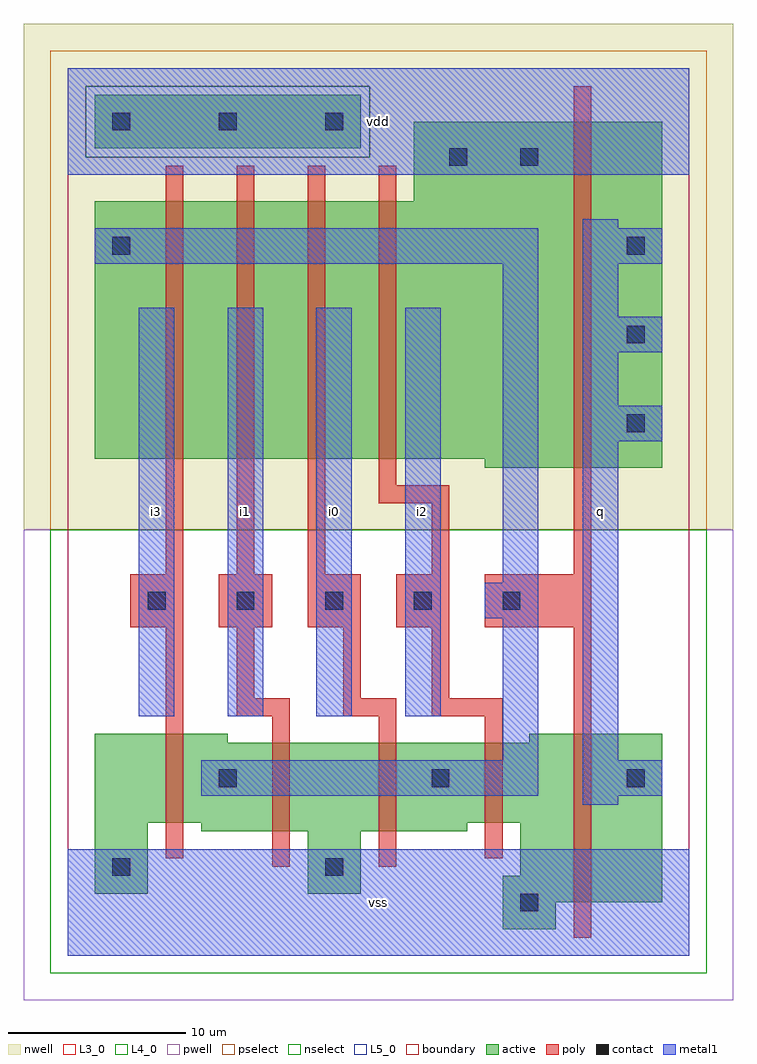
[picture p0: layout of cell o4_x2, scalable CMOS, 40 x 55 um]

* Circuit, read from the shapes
.subckt o4_x2 i0 i1 i2 i3 q vdd vss
M1 n1 i3 vss VSUBS nfet w=5u l=1u
M2 vss i1 n1 VSUBS nfet w=5u l=1u
M3 n1 i0 vss VSUBS nfet w=5u l=1u
M4 vss i2 n1 VSUBS nfet w=4.5u l=1u
M5 q n1 vss VSUBS nfet w=9.5u l=1u
M6 n2 i3 n1 vdd pfet w=14.5u l=1u
M7 n3 i1 n2 vdd pfet w=14.5u l=1u
M8 n4 i0 n3 vdd pfet w=14.5u l=1u
M9 vdd i2 n4 vdd pfet w=14.5u l=1u
M10 q n1 vdd vdd pfet w=19.5u l=1u
.ends

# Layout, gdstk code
import gdstk
lib = gdstk.Library(unit=1e-6, precision=1e-09)
def R(c, l, rs):  # rectangles x0, y0, x1, y1
    for r in rs: c.add(gdstk.rectangle(r[:2], r[2:], *l))
def A(c, l, x, y, w, h, nx, ny, dx, dy):  # array of equal rectangles
    R(c, l, [(x+i*dx, y+j*dy, x+i*dx+w, y+j*dy+h) for i in range(nx) for j in range(ny)])
L3_0 = (3, 0)
L4_0 = (4, 0)
L5_0 = (5, 0)
contact = (25, 0)
pwell = (41, 0)
nwell = (42, 0)
active = (43, 0)
pselect = (44, 0)
nselect = (45, 0)
poly = (46, 0)
metal1 = (49, 0)
boundary = (63, 0)

o4_x2 = lib.new_cell('o4_x2')
R(o4_x2, L3_0, [(24.5,1.5,27.5,3), (24.5,3,33.5,4.5), (1.5,3.5,4.5,7.5), (13.5,3.5,16.5,7), (25.5,4.5,33.5,7.5), (7.5,7,22.5,7.5), (1.5,7.5,33.5,12), (1.5,12,9,12.5), (26,12,33.5,12.5)])
R(o4_x2, L4_0, [(23.5,27.5,33.5,28), (1.5,28,33.5,42.5), (19.5,42.5,33.5,47)])
R(o4_x2, L5_0, [(1.5,45.5,16.5,48.5)])
A(o4_x2, contact, 4.5, 19.5, 1, 1, 5, 1, 5, 0)
A(o4_x2, contact, 31.5, 29.5, 1, 1, 1, 3, 0, 5)
A(o4_x2, contact, 2.5, 46.5, 1, 1, 3, 1, 6, 0)
R(o4_x2, contact, [(25.5,2.5,26.5,3.5), (2.5,4.5,3.5,5.5), (14.5,4.5,15.5,5.5), (8.5,9.5,9.5,10.5), (20.5,9.5,21.5,10.5), (31.5,9.5,32.5,10.5), (2.5,39.5,3.5,40.5), (21.5,44.5,22.5,45.5), (25.5,44.5,26.5,45.5)])
R(o4_x2, pwell, [(-2.5,-2.5,37.5,24)])
R(o4_x2, nwell, [(-2.5,24,37.5,52.5)])
R(o4_x2, active, [(24.5,1.5,27.5,3), (24.5,3,33.5,4.5), (1.5,3.5,4.5,7.5), (13.5,3.5,16.5,7), (25.5,4.5,33.5,7.5), (7.5,7,22.5,7.5), (1.5,7.5,33.5,12), (1.5,12,9,12.5), (26,12,33.5,12.5), (23.5,27.5,33.5,28), (1.5,28,33.5,42.5), (19.5,42.5,33.5,47), (1.5,45.5,16.5,48.5)])
R(o4_x2, pselect, [(-1,24,36,45), (-1,45,1,49), (17,45,36,49), (-1,49,36,51)])
R(o4_x2, nselect, [(-1,-1,36,24), (1,45,17,49)])
A(o4_x2, poly, 3.5, 18.5, 3, 3, 4, 1, 5, 0)
A(o4_x2, poly, 5.5, 21.5, 1, 23, 3, 1, 4, 0)
R(o4_x2, poly, [(28.5,1,29.5,18.5), (11.5,5,12.5,13.5), (17.5,5,18.5,13.5), (5.5,5.5,6.5,18.5), (23.5,5.5,24.5,13.5), (9.5,13.5,12.5,14.5), (15.5,13.5,18.5,14.5), (20.5,13.5,24.5,14.5), (9.5,14.5,10.5,18.5), (15.5,14.5,16.5,18.5), (20.5,14.5,21.5,18.5), (23.5,18.5,29.5,21.5), (20.5,21.5,21.5,25.5), (28.5,21.5,29.5,49), (17.5,25.5,21.5,26.5), (17.5,26.5,18.5,44.5)])
R(o4_x2, metal1, [(0,0,35,6), (0,0,35,6), (29,8.5,31,9), (29,8.5,31,9), (7.5,9,26.5,11), (7.5,9,26.5,11), (29,9,33.5,11), (29,9,33.5,11), (24.5,11,26.5,19), (24.5,11,26.5,19), (29,11,31,29), (29,11,31,29), (4,13.5,6,36.5), (4,13.5,6,36.5), (9,13.5,11,36.5), (9,13.5,11,36.5), (14,13.5,16,36.5), (14,13.5,16,36.5), (19,13.5,21,36.5), (19,13.5,21,36.5), (23.5,19,26.5,21), (23.5,19,26.5,21), (24.5,21,26.5,39), (24.5,21,26.5,39), (29,29,33.5,31), (29,29,33.5,31), (29,31,31,34), (29,31,31,34), (29,34,33.5,36), (29,34,33.5,36), (29,36,31,39), (29,36,31,39), (1.5,39,26.5,41), (1.5,39,26.5,41), (29,39,33.5,41), (29,39,33.5,41), (29,41,31,41.5), (29,41,31,41.5), (0,44,35,50), (0,44,35,50)])
R(o4_x2, boundary, [(0,0,35,50)])
o4_x2.add(gdstk.Label('i3', (5,25), layer=49, texttype=0))
o4_x2.add(gdstk.Label('i0', (15,25), layer=49, texttype=0))
o4_x2.add(gdstk.Label('i1', (10,25), layer=49, texttype=0))
o4_x2.add(gdstk.Label('vss', (17.5,3), layer=49, texttype=0))
o4_x2.add(gdstk.Label('i2', (20,25), layer=49, texttype=0))
o4_x2.add(gdstk.Label('vdd', (17.5,47), layer=49, texttype=0))
o4_x2.add(gdstk.Label('q', (30,25), layer=49, texttype=0))

lib.write_gds('o4_x2.gds')
